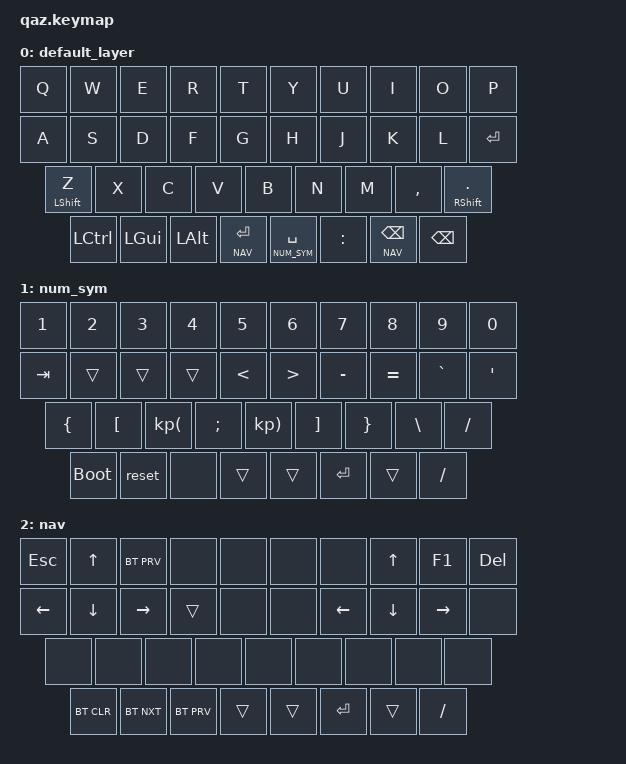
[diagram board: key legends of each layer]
/*
 * Copyright (c) 2020 The ZMK Contributors
 *
 * SPDX-License-Identifier: MIT
 */

#include <behaviors.dtsi>
#include <dt-bindings/zmk/keys.h>
#include <dt-bindings/zmk/bt.h>

#define DEFAULT 0
#define NUM_SYM 1
#define NAV     2

/ {
    behaviors {
        hm: homerow_mods {
            compatible = "zmk,behavior-hold-tap";
            label = "homerow mods";
            #binding-cells = <2>;
            tapping-term-ms = <225>;
            flavor = "tap-preferred";
            bindings = <&kp>, <&kp>;
        };
    };
};

/ {
    keymap {
        compatible = "zmk,keymap";

        default_layer {
            bindings = <
    &kp Q      &kp W      &kp E       &kp R       &kp T  &kp Y  &kp U       &kp I       &kp O      &kp P
    &kp A &kp S      &kp D       &kp F       &kp G  &kp H  &kp J       &kp K       &kp L      &kp RET
    &hm LSHFT Z                 &kp X       &kp C       &kp V  &kp B  &kp N       &kp M       &kp COMMA  &hm RSHFT DOT
    &kp LCTRL  &kp LGUI   &kp LALT       &lt NAV RET    &lt NUM_SYM SPACE   &kp COLON   &lt NAV BSPC    &kp BSPC
            >;
        };
        num_sym {
            bindings = <
    &kp N1     &kp N2     &kp N3     &kp N4     &kp N5 &kp N6 &kp N7     &kp N8      &kp N9    &kp N0
  &kp TAB    &trans     &trans     &trans     &kp LESS_THAN &kp GREATER_THAN &kp MINUS    &kp EQUAL   &kp GRAVE &kp SQT
    &kp LBRC               &kp LBKT      &kp KP_LPAR      &kp SEMI  &kp KP_RPAR  &kp RBKT      &kp RBRC       &kp BSLH     &kp SLASH
    &bootloader &reset    &none         &trans        &trans             &kp RET     &trans    &kp FSLH
            >;
        };

    nav {
            bindings = <
    &kp ESC &kp UP &bt BT_PRV &none       &none &none &none       &kp UP       &kp F1     &kp DELETE
    &kp LEFT     &kp DOWN     &kp RIGHT     &trans      &none &none &kp LEFT    &kp DOWN     &kp RIGHT &none
    &none                 &none      &none       &none &none &none       &none        &none     &none
    &bt BT_CLR     &bt BT_NXT     &bt BT_PRV         &trans        &trans             &kp RET      &trans    &kp FSLH
            >;
        };
    };
};
